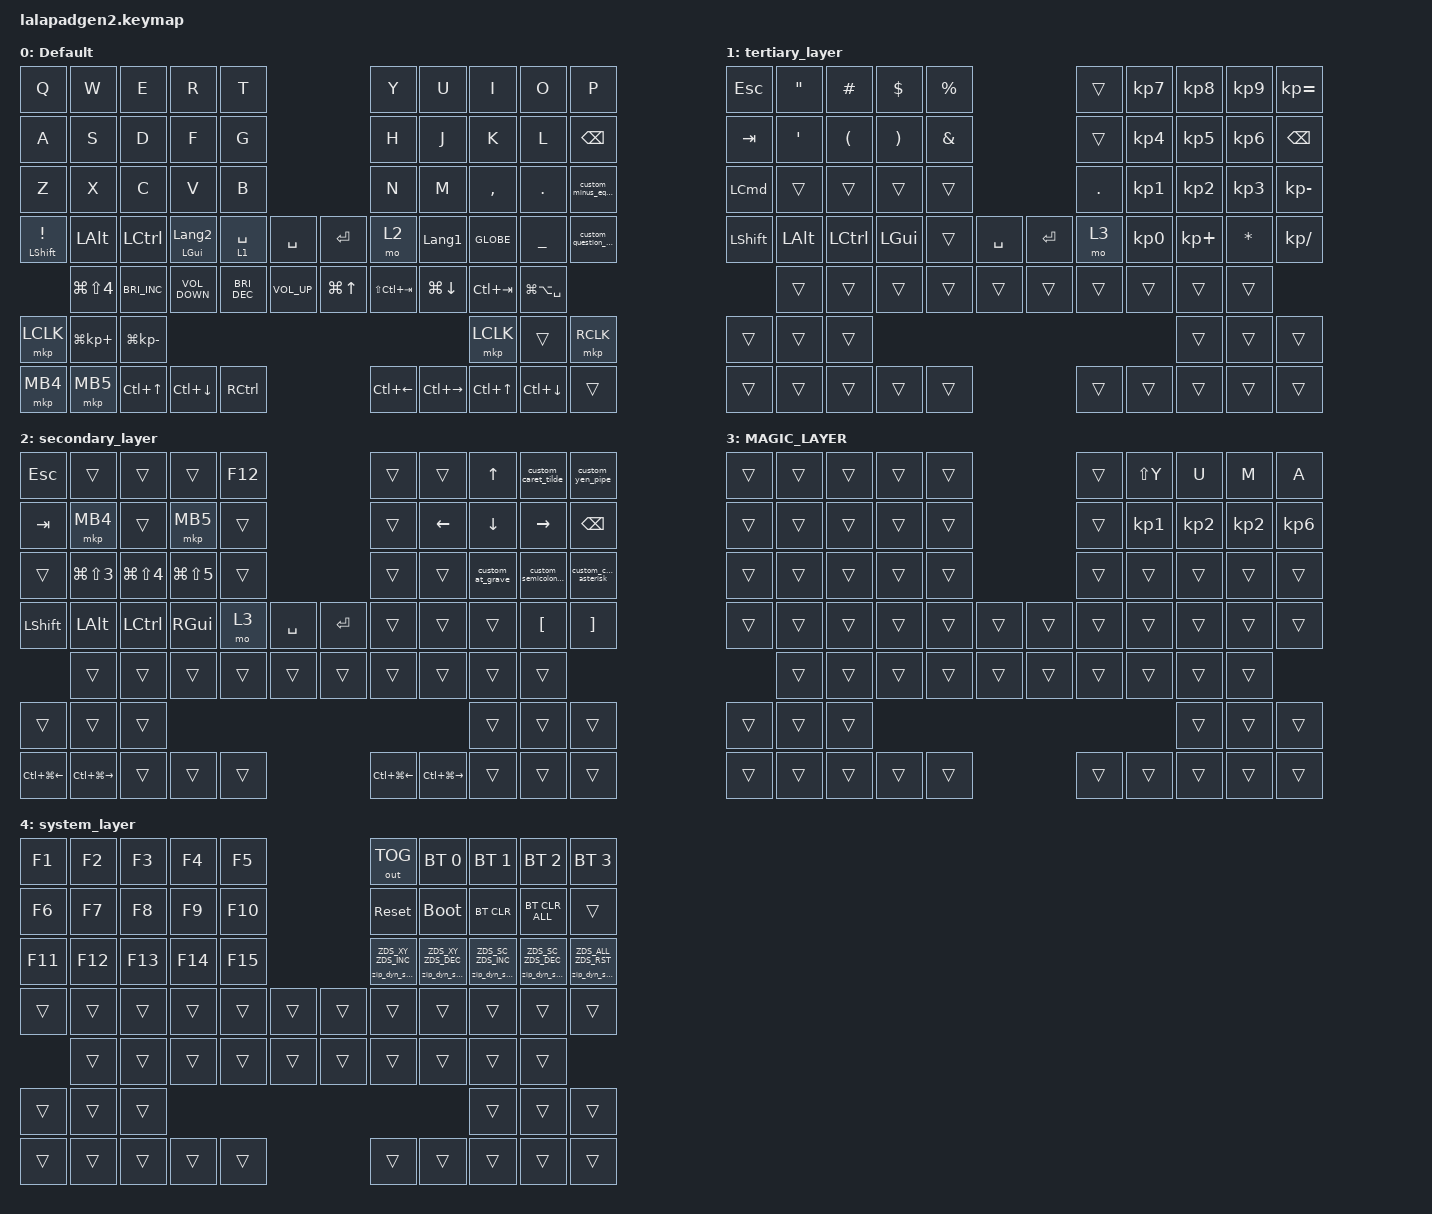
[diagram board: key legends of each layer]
#include <input/processors.dtsi>
#include <dt-bindings/zmk/zip_dynamic_scale.h>
#include <behaviors.dtsi>
#include <dt-bindings/zmk/bt.h>
#include <dt-bindings/zmk/keys.h>
#include <dt-bindings/zmk/outputs.h>
#include <dt-bindings/zmk/pointing.h>

#define DEFAULT_LAYER   0
#define SECONDARY_LAYER 1
#define TERTIARY_LAYER  2
#define SYSTEM_LAYER    3

&mt { quick-tap-ms = <200>; };

&lt { quick-tap-ms = <200>; };

/ {
    behaviors {
        zip_dyn_scale: zip_dyn_scale {
            compatible = "zmk,behavior-zip-dynamic-scale";
            #binding-cells = <2>;
        };

        zip_dyn_scale_set: zip_dyn_scale_set {
            compatible = "zmk,behavior-zip-dynamic-scale-set";
            #binding-cells = <2>;
        };

        mt2: mod_tap2 {
            compatible = "zmk,behavior-hold-tap";
            #binding-cells = <2>;
            flavor = "tap-preferred";
            tapping-term-ms = <200>;
            quick-tap-ms = <200>;
            require-prior-idle-ms = <125>;
            bindings = <&kp>, <&kp>;
        };

        tap_dance_layer_1and2: tap_dance_layer_1and2 {
            compatible = "zmk,behavior-tap-dance";
            label = "td_mo12";
            #binding-cells = <0>;
            bindings = <&mo 1>, <&mo 4>;
        };

        custom_minus_equal: custom_minus_equal {
            compatible = "zmk,behavior-mod-morph";
            label = "CUSTOM_MINUS_EQUAL";
            bindings = <&kp MINUS>, <&kp EQUAL>;

            #binding-cells = <0>;
            mods = <(MOD_LSFT|MOD_RSFT)>;
        };

        custom_caret_tilde: custom_caret_tilde {
            compatible = "zmk,behavior-mod-morph";
            label = "CUSTOM_CARET_TILDE";
            bindings = <&kp CARET>, <&kp TILDE>;

            #binding-cells = <0>;
            mods = <(MOD_LSFT|MOD_RSFT)>;
        };

        custom_yen_pipe: custom_yen_pipe {
            compatible = "zmk,behavior-mod-morph";
            label = "CUSTOM_YEN_PIPE";
            bindings = <&kp INT_YEN>, <&kp PIPE>;

            #binding-cells = <0>;
            mods = <(MOD_LSFT|MOD_RSFT)>;
        };

        custom_at_grave: custom_at_grave {
            compatible = "zmk,behavior-mod-morph";
            label = "CUSTOM_AT_GRAVE";
            bindings = <&kp AT_SIGN>, <&kp GRAVE>;

            #binding-cells = <0>;
            mods = <(MOD_LSFT|MOD_RSFT)>;
        };

        custom_semicolon_plus: custom_semicolon_plus {
            compatible = "zmk,behavior-mod-morph";
            label = "CUSTOM_SEMICOLON_PLUS";
            bindings = <&kp SEMICOLON>, <&kp PLUS>;

            #binding-cells = <0>;
            mods = <(MOD_LSFT|MOD_RSFT)>;
        };

        custom_colon_asterisk: custom_colon_asterisk {
            compatible = "zmk,behavior-mod-morph";
            label = "CUSTOM_COLON_ASTERISK";
            bindings = <&kp COLON>, <&kp ASTERISK>;

            #binding-cells = <0>;
            mods = <(MOD_LSFT|MOD_RSFT)>;
        };

        custom_question_slash: custom_question_slash {
            compatible = "zmk,behavior-mod-morph";
            label = "CUSTOM_QUESTION_SLASH";
            bindings = <&kp QUESTION>, <&kp SLASH>;

            #binding-cells = <0>;
            mods = <(MOD_LSFT)>;
        };
    };

    combos {
        compatible = "zmk,combos";

        COMBO_CLICK {
            bindings = <&mkp LCLK>;
            key-positions = <13 12>;
        };
    };

    keymap {
        compatible = "zmk,keymap";

        DEFAULT_LAYER {
            display-name = "Default";
            bindings = <
&kp Q                       &kp W            &kp E                 &kp R                    &kp T                                              &kp Y            &kp U           &kp I             &kp O               &kp P
&kp A                       &kp S            &kp D                 &kp F                    &kp G                                              &kp H            &kp J           &kp K             &kp L               &kp BACKSPACE
&kp Z                       &kp X            &kp C                 &kp V                    &kp B                                              &kp N            &kp M           &kp COMMA         &kp PERIOD          &custom_minus_equal
&mt LEFT_SHIFT EXCLAMATION  &kp LEFT_ALT     &kp LCTRL             &mt LEFT_GUI LANGUAGE_2  &lt 1 SPACE           &kp SPACE        &kp ENTER   &mo 2            &kp LANGUAGE_1  &kp GLOBE         &kp UNDER           &custom_question_slash
                            &kp LG(LS(N4))   &kp C_BRIGHTNESS_INC  &kp C_VOLUME_DOWN        &kp C_BRIGHTNESS_DEC  &kp C_VOLUME_UP  &kp LG(UP)  &kp LS(LC(TAB))  &kp LG(DOWN)    &kp LC(TAB)       &kp LG(LA(SPACE))
&mkp LCLK                   &kp LG(KP_PLUS)  &kp LG(KP_MINUS)                                                                                                                   &mkp LCLK         &trans              &mkp RCLK
&mkp MB4                    &mkp MB5         &kp LC(UP_ARROW)      &kp LC(DOWN_ARROW)       &kp RCTRL                                          &kp LC(LEFT)     &kp LC(RIGHT)   &kp LC(UP_ARROW)  &kp LC(DOWN_ARROW)  &trans
            >;
        };

        TERTIARY_LAYER {
            display-name = "tertiary_layer";
            bindings = <
&kp ESCAPE        &kp DOUBLE_QUOTES  &kp HASH              &kp DOLLAR             &kp PERCENT                          &trans      &kp KP_NUMBER_7  &kp KP_NUMBER_8  &kp KP_NUMBER_9  &kp KP_EQUAL
&kp TAB           &kp SINGLE_QUOTE   &kp LEFT_PARENTHESIS  &kp RIGHT_PARENTHESIS  &kp AMPERSAND                        &trans      &kp KP_NUMBER_4  &kp KP_NUMBER_5  &kp KP_NUMBER_6  &kp BACKSPACE
&kp LEFT_COMMAND  &trans             &trans                &trans                 &trans                               &kp PERIOD  &kp KP_NUMBER_1  &kp KP_NUMBER_2  &kp KP_NUMBER_3  &kp KP_SUBTRACT
&kp LEFT_SHIFT    &kp LEFT_ALT       &kp LCTRL             &kp LEFT_GUI           &trans         &kp SPACE  &kp ENTER  &mo 3       &kp KP_NUMBER_0  &kp KP_PLUS      &kp ASTRK        &kp KP_DIVIDE
                  &trans             &trans                &trans                 &trans         &trans     &trans     &trans      &trans           &trans           &trans
&trans            &trans             &trans                                                                                                         &trans           &trans           &trans
&trans            &trans             &trans                &trans                 &trans                               &trans      &trans           &trans           &trans           &trans
            >;
        };

        SECONDARY_LAYER {
            display-name = "secondary_layer";
            bindings = <
&kp ESCAPE        &trans             &trans          &trans          &kp F12                        &trans            &trans             &kp UP_ARROW      &custom_caret_tilde     &custom_yen_pipe
&kp TAB           &mkp MB4           &trans          &mkp MB5        &trans                         &trans            &kp LEFT           &kp DOWN          &kp RIGHT               &kp BACKSPACE
&trans            &kp LG(LS(N3))     &kp LG(LS(N4))  &kp LG(LS(N5))  &trans                         &trans            &trans             &custom_at_grave  &custom_semicolon_plus  &custom_colon_asterisk
&kp LEFT_SHIFT    &kp LEFT_ALT       &kp LCTRL       &kp RIGHT_GUI   &mo 3    &kp SPACE  &kp ENTER  &trans            &trans             &trans            &kp LEFT_BRACKET        &kp RIGHT_BRACKET
                  &trans             &trans          &trans          &trans   &trans     &trans     &trans            &trans             &trans            &trans
&trans            &trans             &trans                                                                                              &trans            &trans                  &trans
&kp LC(LG(LEFT))  &kp LC(LG(RIGHT))  &trans          &trans          &trans                         &kp LC(LG(LEFT))  &kp LC(LG(RIGHT))  &trans            &trans                  &trans
            >;
        };

        MAGIC_LAYER {
            bindings = <
&trans  &trans  &trans  &trans  &trans                  &trans  &kp LS(Y)        &kp U            &kp M            &kp A
&trans  &trans  &trans  &trans  &trans                  &trans  &kp KP_NUMBER_1  &kp KP_NUMBER_2  &kp KP_NUMBER_2  &kp KP_NUMBER_6
&trans  &trans  &trans  &trans  &trans                  &trans  &trans           &trans           &trans           &trans
&trans  &trans  &trans  &trans  &trans  &trans  &trans  &trans  &trans           &trans           &trans           &trans
        &trans  &trans  &trans  &trans  &trans  &trans  &trans  &trans           &trans           &trans
&trans  &trans  &trans                                                           &trans           &trans           &trans
&trans  &trans  &trans  &trans  &trans                  &trans  &trans           &trans           &trans           &trans
            >;
        };

        SYSTEM_LAYER {
            display-name = "system_layer";
            bindings = <
&kp F1   &kp F2   &kp F3   &kp F4   &kp F5                   &out OUT_TOG                   &bt BT_SEL 0                   &bt BT_SEL 1                   &bt BT_SEL 2                   &bt BT_SEL 3
&kp F6   &kp F7   &kp F8   &kp F9   &kp F10                  &sys_reset                     &bootloader                    &bt BT_CLR                     &bt BT_CLR_ALL                 &trans
&kp F11  &kp F12  &kp F13  &kp F14  &kp F15                  &zip_dyn_scale ZDS_XY ZDS_INC  &zip_dyn_scale ZDS_XY ZDS_DEC  &zip_dyn_scale ZDS_SC ZDS_INC  &zip_dyn_scale ZDS_SC ZDS_DEC  &zip_dyn_scale ZDS_ALL ZDS_RST
&trans   &trans   &trans   &trans   &trans   &trans  &trans  &trans                         &trans                         &trans                         &trans                         &trans
         &trans   &trans   &trans   &trans   &trans  &trans  &trans                         &trans                         &trans                         &trans
&trans   &trans   &trans                                                                                                   &trans                         &trans                         &trans
&trans   &trans   &trans   &trans   &trans                   &trans                         &trans                         &trans                         &trans                         &trans
            >;
        };
    };

    conditional_layers {
        compatible = "zmk,conditional-layers";

        Cond_Syslayer {
            if-layers = <1 4>;
            then-layer = <4>;
        };
    };
};
